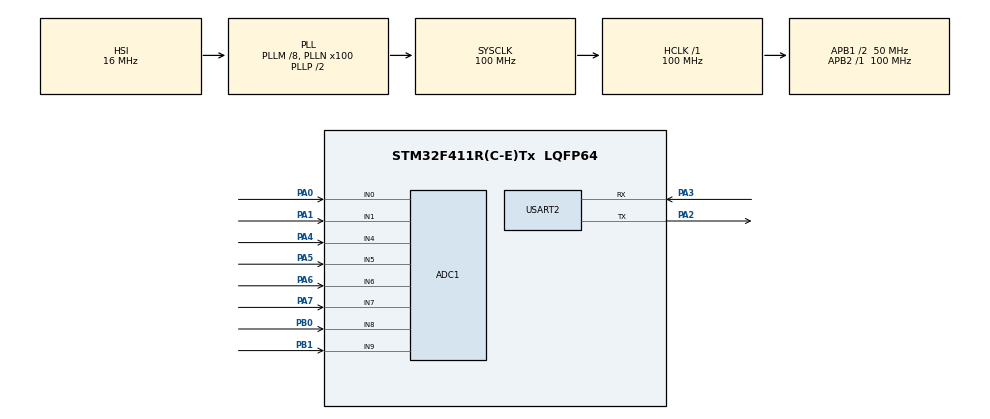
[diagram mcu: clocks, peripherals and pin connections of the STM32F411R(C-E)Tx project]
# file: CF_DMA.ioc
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ADC1.Channel-1\#ChannelRegularConversion=ADC_CHANNEL_0
ADC1.Channel-2\#ChannelRegularConversion=ADC_CHANNEL_1
ADC1.Channel-3\#ChannelRegularConversion=ADC_CHANNEL_8
ADC1.Channel-4\#ChannelRegularConversion=ADC_CHANNEL_9
ADC1.Channel-5\#ChannelRegularConversion=ADC_CHANNEL_4
ADC1.Channel-6\#ChannelRegularConversion=ADC_CHANNEL_5
ADC1.Channel-7\#ChannelRegularConversion=ADC_CHANNEL_6
ADC1.Channel-8\#ChannelRegularConversion=ADC_CHANNEL_7
ADC1.ContinuousConvMode=ENABLE
ADC1.DMAContinuousRequests=ENABLE
ADC1.NbrOfConversion=8
ADC1.NbrOfConversionFlag=1
ADC1.Rank-1\#ChannelRegularConversion=1
ADC1.Rank-2\#ChannelRegularConversion=2
ADC1.Rank-3\#ChannelRegularConversion=3
ADC1.Rank-4\#ChannelRegularConversion=4
ADC1.Rank-5\#ChannelRegularConversion=5
ADC1.Rank-6\#ChannelRegularConversion=6
ADC1.Rank-7\#ChannelRegularConversion=7
ADC1.Rank-8\#ChannelRegularConversion=8
ADC1.SamplingTime-1\#ChannelRegularConversion=ADC_SAMPLETIME_480CYCLES
ADC1.SamplingTime-2\#ChannelRegularConversion=ADC_SAMPLETIME_480CYCLES
ADC1.SamplingTime-3\#ChannelRegularConversion=ADC_SAMPLETIME_480CYCLES
ADC1.SamplingTime-4\#ChannelRegularConversion=ADC_SAMPLETIME_480CYCLES
ADC1.SamplingTime-5\#ChannelRegularConversion=ADC_SAMPLETIME_480CYCLES
ADC1.SamplingTime-6\#ChannelRegularConversion=ADC_SAMPLETIME_480CYCLES
ADC1.SamplingTime-7\#ChannelRegularConversion=ADC_SAMPLETIME_480CYCLES
ADC1.SamplingTime-8\#ChannelRegularConversion=ADC_SAMPLETIME_480CYCLES
ADC1.master=1
Dma.ADC1.0.Direction=DMA_PERIPH_TO_MEMORY
Dma.ADC1.0.FIFOMode=DMA_FIFOMODE_DISABLE
Dma.ADC1.0.Instance=DMA2_Stream0
Dma.ADC1.0.MemDataAlignment=DMA_MDATAALIGN_WORD
Dma.ADC1.0.MemInc=DMA_MINC_ENABLE
Dma.ADC1.0.Mode=DMA_CIRCULAR
Dma.ADC1.0.PeriphDataAlignment=DMA_PDATAALIGN_WORD
Dma.ADC1.0.PeriphInc=DMA_PINC_DISABLE
Dma.ADC1.0.Priority=DMA_PRIORITY_HIGH
Dma.Request0=ADC1
Mcu.Family=STM32F4
Mcu.Name=STM32F411R(C-E)Tx
Mcu.Package=LQFP64
NVIC.ADC_IRQn=true\:0\:0\:false\:false\:true\:true\:true\:true
NVIC.DMA2_Stream0_IRQn=true\:0\:0\:false\:false\:true\:false\:true\:true
NVIC.PriorityGroup=NVIC_PRIORITYGROUP_4
PA0-WKUP.Signal=ADCx_IN0
PA1.Signal=ADCx_IN1
PA13.Mode=Serial_Wire
PA13.Signal=SYS_JTMS-SWDIO
PA14.Mode=Serial_Wire
PA14.Signal=SYS_JTCK-SWCLK
PA2.Mode=Asynchronous
PA2.Signal=USART2_TX
PA3.Mode=Asynchronous
PA3.Signal=USART2_RX
PA4.Signal=ADCx_IN4
PA5.Signal=ADCx_IN5
PA6.Signal=ADCx_IN6
PA7.Signal=ADCx_IN7
PB0.Signal=ADCx_IN8
PB1.Signal=ADCx_IN9
PH0\ -\ OSC_IN.Mode=HSE-External-Oscillator
PH0\ -\ OSC_IN.Signal=RCC_OSC_IN
PH1\ -\ OSC_OUT.Mode=HSE-External-Oscillator
PH1\ -\ OSC_OUT.Signal=RCC_OSC_OUT
ProjectManager.HeapSize=0x200
ProjectManager.StackSize=0x400
ProjectManager.TargetToolchain=CMake
RCC.48MHZClocksFreq_Value=50000000
RCC.AHBFreq_Value=100000000
RCC.APB1CLKDivider=RCC_HCLK_DIV2
RCC.APB1Freq_Value=50000000
RCC.APB1TimFreq_Value=100000000
RCC.APB2Freq_Value=100000000
RCC.APB2TimFreq_Value=100000000
RCC.CortexFreq_Value=100000000
RCC.HCLKFreq_Value=100000000
RCC.HSE_VALUE=25000000
RCC.HSI_VALUE=16000000
RCC.LSE_VALUE=32768
RCC.PLLM=8
RCC.PLLN=100
RCC.SYSCLKFreq_VALUE=100000000
RCC.SYSCLKSource=RCC_SYSCLKSOURCE_PLLCLK
RCC.VCOOutputFreq_Value=200000000
SH.ADCx_IN0.0=ADC1_IN0,IN0
SH.ADCx_IN1.0=ADC1_IN1,IN1
SH.ADCx_IN4.0=ADC1_IN4,IN4
SH.ADCx_IN5.0=ADC1_IN5,IN5
SH.ADCx_IN6.0=ADC1_IN6,IN6
SH.ADCx_IN7.0=ADC1_IN7,IN7
SH.ADCx_IN8.0=ADC1_IN8,IN8
SH.ADCx_IN9.0=ADC1_IN9,IN9
USART2.VirtualMode=VM_ASYNC
board=custom

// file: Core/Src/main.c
/* USER CODE BEGIN Header */
/**
  ******************************************************************************
  * @file           : main.c
  * @brief          : Main program body
  ******************************************************************************
  * @attention
  *
  * Copyright (c) 2026 STMicroelectronics.
  * All rights reserved.
  *
  * This software is licensed under terms that can be found in the LICENSE file
  * in the root directory of this software component.
  * If no LICENSE file comes with this software, it is provided AS-IS.
  *
  ******************************************************************************
  */
/* USER CODE END Header */
#include "main.h"
#include "adc.h"
#include "dma.h"
#include "usart.h"
#include "gpio.h"

/* USER CODE BEGIN Includes */
#include <math.h>
#include <stdio.h>
#include "string.h"
/* USER CODE END Includes */

/* USER CODE BEGIN PTD */
uint16_t convertAnalogToTemperature(uint16_t temp);
/* USER CODE END PTD */

/* USER CODE BEGIN PV */

uint16_t temp1;
uint16_t temp2;
uint16_t temp3;
uint16_t temp4;
uint16_t hum1;
uint16_t hum2;
uint16_t hum3;
uint16_t hum4;

uint32_t adc[8];
float analogReadValue_float;
char buffer[110];
/* USER CODE END PV */

void SystemClock_Config(void);

int main(void)
{

  /* MCU Configuration--------------------------------------------------------*/

  /* Reset of all peripherals, Initializes the Flash interface and the Systick. */
  HAL_Init();

  /* Configure the system clock */
  SystemClock_Config();

  /* Initialize all configured peripherals */
  MX_GPIO_Init();
  MX_DMA_Init();
  MX_ADC1_Init();
  MX_USART2_UART_Init();
  /* USER CODE BEGIN 2 */
  HAL_ADC_Start_DMA(&hadc1, (uint32_t*)adc, 8);
  /* USER CODE END 2 */

  /* Infinite loop */
  while (1)
  {

    /* USER CODE BEGIN 3 */

  temp1 = convertAnalogToTemperature(adc[0]);
  temp2 = convertAnalogToTemperature(adc[1]);
  temp3 = convertAnalogToTemperature(adc[2]);
  temp4 = convertAnalogToTemperature(adc[3]);
  hum1 = adc[4];
  hum2 = adc[5];
  hum3 = adc[6];
  hum4 = adc[7];

  snprintf(buffer, sizeof(buffer), "Temp1: %d, Temp2: %d, Temp3: %d, Temp4: %d, Hum1: %d, Hum2: %d, Hum3: %d, Hum4: %d\r\n", temp1, temp2, temp3, temp4, hum1, hum2, hum3, hum4);
  HAL_UART_Transmit(&huart2, (uint8_t*)buffer, strlen(buffer), HAL_MAX_DELAY);
  HAL_Delay(500);
  }
  /* USER CODE END 3 */
}

void SystemClock_Config(void)
{
  RCC_OscInitTypeDef RCC_OscInitStruct = {0};
  RCC_ClkInitTypeDef RCC_ClkInitStruct = {0};

  /** Configure the main internal regulator output voltage
  */
  __HAL_RCC_PWR_CLK_ENABLE();
  __HAL_PWR_VOLTAGESCALING_CONFIG(PWR_REGULATOR_VOLTAGE_SCALE1);

  /** Initializes the RCC Oscillators according to the specified parameters
  * in the RCC_OscInitTypeDef structure.
  */
  RCC_OscInitStruct.OscillatorType = RCC_OSCILLATORTYPE_HSI;
  RCC_OscInitStruct.HSIState = RCC_HSI_ON;
  RCC_OscInitStruct.HSICalibrationValue = RCC_HSICALIBRATION_DEFAULT;
  RCC_OscInitStruct.PLL.PLLState = RCC_PLL_ON;
  RCC_OscInitStruct.PLL.PLLSource = RCC_PLLSOURCE_HSI;
  RCC_OscInitStruct.PLL.PLLM = 8;
  RCC_OscInitStruct.PLL.PLLN = 100;
  RCC_OscInitStruct.PLL.PLLP = RCC_PLLP_DIV2;
  RCC_OscInitStruct.PLL.PLLQ = 4;
  if (HAL_RCC_OscConfig(&RCC_OscInitStruct) != HAL_OK)
  {
    Error_Handler();
  }

  /** Initializes the CPU, AHB and APB buses clocks
  */
  RCC_ClkInitStruct.ClockType = RCC_CLOCKTYPE_HCLK|RCC_CLOCKTYPE_SYSCLK
                              |RCC_CLOCKTYPE_PCLK1|RCC_CLOCKTYPE_PCLK2;
  RCC_ClkInitStruct.SYSCLKSource = RCC_SYSCLKSOURCE_PLLCLK;
  RCC_ClkInitStruct.AHBCLKDivider = RCC_SYSCLK_DIV1;
  RCC_ClkInitStruct.APB1CLKDivider = RCC_HCLK_DIV2;
  RCC_ClkInitStruct.APB2CLKDivider = RCC_HCLK_DIV1;

  if (HAL_RCC_ClockConfig(&RCC_ClkInitStruct, FLASH_LATENCY_3) != HAL_OK)
  {
    Error_Handler();
  }
}

/* USER CODE BEGIN 4 */
/*float convertAnalogToTemperature(uint16_t analogReadValue)
{
  // If analogReadValue is 0, we would otherwise cause a Divide-By-Zero,
  // Treat as crazy out-of-range temperature.
  analogReadValue_float = analogReadValue / 6.6;
  if(analogReadValue_float == 0) return -1000.0;
  return ((1/((log(((10000.0 * (1023.0 - analogReadValue_float)) / analogReadValue_float)/10000.0)/3435.0) + (1 / (273.15 + 25.000))) - 273.15)) * 100;
} */

uint16_t convertAnalogToTemperature(uint16_t temp)
{
  float Vout = temp * (3.3 / 4095); //4095  ' 12 bit resolution of the blue pill
  float R_NTC = (Vout * 10000) /(3.3 - Vout); //calculating the resistance of the thermistor
  float Temp_K = (298.15 * 3435)/(298.15 * log(R_NTC / 10000) + 3435); //Temperature in Kelvin
  return ((uint16_t) ((Temp_K - 273.15) * 100)); //converting into Celsius
}
/* USER CODE END 4 */

void Error_Handler(void)
{
  __disable_irq();
  while (1)
  {
  }
}
